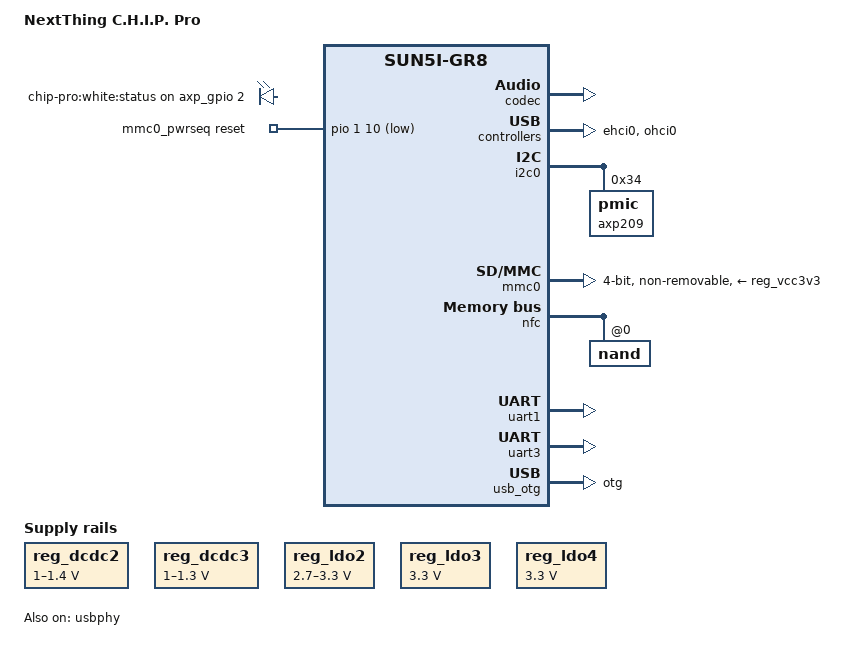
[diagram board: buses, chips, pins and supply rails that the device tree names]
/*
 * Copyright 2016 Free Electrons
 * Copyright 2016 NextThing Co
 *
 * Maxime Ripard <maxime.ripard@free-electrons.com>
 *
 * This file is dual-licensed: you can use it either under the terms
 * of the GPL or the X11 license, at your option. Note that this dual
 * licensing only applies to this file, and not this project as a
 * whole.
 *
 *  a) This file is free software; you can redistribute it and/or
 *     modify it under the terms of the GNU General Public License as
 *     published by the Free Software Foundation; either version 2 of the
 *     License, or (at your option) any later version.
 *
 *     This file is distributed in the hope that it will be useful,
 *     but WITHOUT ANY WARRANTY; without even the implied warranty of
 *     MERCHANTABILITY or FITNESS FOR A PARTICULAR PURPOSE.  See the
 *     GNU General Public License for more details.
 *
 * Or, alternatively,
 *
 *  b) Permission is hereby granted, free of charge, to any person
 *     obtaining a copy of this software and associated documentation
 *     files (the "Software"), to deal in the Software without
 *     restriction, including without limitation the rights to use,
 *     copy, modify, merge, publish, distribute, sublicense, and/or
 *     sell copies of the Software, and to permit persons to whom the
 *     Software is furnished to do so, subject to the following
 *     conditions:
 *
 *     The above copyright notice and this permission notice shall be
 *     included in all copies or substantial portions of the Software.
 *
 *     THE SOFTWARE IS PROVIDED "AS IS", WITHOUT WARRANTY OF ANY KIND,
 *     EXPRESS OR IMPLIED, INCLUDING BUT NOT LIMITED TO THE WARRANTIES
 *     OF MERCHANTABILITY, FITNESS FOR A PARTICULAR PURPOSE AND
 *     NONINFRINGEMENT. IN NO EVENT SHALL THE AUTHORS OR COPYRIGHT
 *     HOLDERS BE LIABLE FOR ANY CLAIM, DAMAGES OR OTHER LIABILITY,
 *     WHETHER IN AN ACTION OF CONTRACT, TORT OR OTHERWISE, ARISING
 *     FROM, OUT OF OR IN CONNECTION WITH THE SOFTWARE OR THE USE OR
 *     OTHER DEALINGS IN THE SOFTWARE.
 */

/dts-v1/;
#include "sun5i-gr8.dtsi"
#include "sunxi-common-regulators.dtsi"

#include <dt-bindings/gpio/gpio.h>
#include <dt-bindings/input/input.h>
#include <dt-bindings/interrupt-controller/irq.h>

/ {
	model = "NextThing C.H.I.P. Pro";
	compatible = "nextthing,chip-pro", "nextthing,gr8";

	aliases {
		i2c0 = &i2c0;
		i2c1 = &i2c1;
		serial0 = &uart1;
		serial1 = &uart2;
		serial2 = &uart3;
	};

	chosen {
		stdout-path = "serial0:115200n8";
	};

	leds {
		compatible = "gpio-leds";

		status {
			label = "chip-pro:white:status";
			gpios = <&axp_gpio 2 GPIO_ACTIVE_HIGH>;
			default-state = "on";
		};
	};

	mmc0_pwrseq: mmc0_pwrseq {
		compatible = "mmc-pwrseq-simple";
		pinctrl-names = "default";
		pinctrl-0 = <&wifi_reg_on_pin_chip_pro>;
		reset-gpios = <&pio 1 10 GPIO_ACTIVE_LOW>; /* PB10 */
	};
};

&codec {
	status = "okay";
};

&ehci0 {
	status = "okay";
};

&i2c0 {
	pinctrl-names = "default";
	pinctrl-0 = <&i2c0_pins_a>;
	status = "okay";

	axp209: pmic@34 {
		reg = <0x34>;

		/*
		* The interrupt is routed through the "External Fast
		* Interrupt Request" pin (ball G13 of the module)
		* directly to the main interrupt controller, without
		* any other controller interfering.
		*/
		interrupts = <0>;
	};
};

#include "axp209.dtsi"

&i2c1 {
	pinctrl-names = "default";
	pinctrl-0 = <&i2c1_pins_a>;
	status = "disabled";
};

&i2s0 {
	pinctrl-names = "default";
	pinctrl-0 = <&i2s0_mclk_pins_a>, <&i2s0_data_pins_a>;
	status = "disabled";
};

&mmc0 {
	pinctrl-names = "default";
	pinctrl-0 = <&mmc0_pins_a>;
	vmmc-supply = <&reg_vcc3v3>;
	mmc-pwrseq = <&mmc0_pwrseq>;
	bus-width = <4>;
	non-removable;
	status = "okay";
};

&nfc {
	pinctrl-names = "default";
	pinctrl-0 = <&nand_pins_a &nand_cs0_pins_a &nand_rb0_pins_a>;
	status = "okay";

	nand@0 {
		#address-cells = <2>;
		#size-cells = <2>;
		reg = <0>;
		allwinner,rb = <0>;
		nand-ecc-mode = "hw";
	};
};

&ohci0 {
	status = "okay";
};

&otg_sram {
	status = "okay";
};

&pio {
	usb0_id_pin_chip_pro: usb0-id-pin@0 {
		pins = "PG2";
		function = "gpio_in";
	};

	wifi_reg_on_pin_chip_pro: wifi-reg-on-pin@0 {
		pins = "PB10";
		function = "gpio_out";
	};
};

&pwm {
	pinctrl-names = "default";
	pinctrl-0 = <&pwm0_pins>, <&pwm1_pins>;
	status = "disabled";
};

&reg_dcdc2 {
	regulator-min-microvolt = <1000000>;
	regulator-max-microvolt = <1400000>;
	regulator-name = "vdd-cpu";
	regulator-always-on;
};

&reg_dcdc3 {
	regulator-min-microvolt = <1000000>;
	regulator-max-microvolt = <1300000>;
	regulator-name = "vdd-sys";
	regulator-always-on;
};

&reg_ldo1 {
	regulator-name = "vdd-rtc";
};

&reg_ldo2 {
	regulator-min-microvolt = <2700000>;
	regulator-max-microvolt = <3300000>;
	regulator-name = "avcc";
	regulator-always-on;
};

/*
 * Both LDO3 and LDO4 are used in parallel to power up the
 * WiFi/BT chip.
 */
&reg_ldo3 {
	regulator-min-microvolt = <3300000>;
	regulator-max-microvolt = <3300000>;
	regulator-name = "vcc-wifi-1";
	regulator-always-on;
};

&reg_ldo4 {
	regulator-min-microvolt = <3300000>;
	regulator-max-microvolt = <3300000>;
	regulator-name = "vcc-wifi-2";
	regulator-always-on;
};

&uart1 {
	pinctrl-names = "default";
	pinctrl-0 = <&uart1_pins_b>, <&uart1_cts_rts_pins_a>;
	status = "okay";
};

&uart2 {
	pinctrl-names = "default";
	pinctrl-0 = <&uart2_pins_a>, <&uart2_cts_rts_pins_a>;
	status = "disabled";
};

&uart3 {
	pinctrl-names = "default";
	pinctrl-0 = <&uart3_pins_a>, <&uart3_cts_rts_pins_a>;
	status = "okay";
};

&usb_otg {
	/*
	 * The CHIP Pro doesn't have a controllable VBUS, nor does it
	 * have any 5v rail on the board itself.
	 *
	 * If one wants to use it as a true OTG port, it should be
	 * done in the baseboard, and its DT / overlay will add it.
	 */
	dr_mode = "otg";
	status = "okay";
};

&usb_power_supply {
	status = "okay";
};

&usbphy {
	pinctrl-names = "default";
	pinctrl-0 = <&usb0_id_pin_chip_pro>;
	usb0_id_det-gpio = <&pio 6 2 GPIO_ACTIVE_HIGH>; /* PG2 */
	usb0_vbus_power-supply = <&usb_power_supply>;
	usb1_vbus-supply = <&reg_vcc5v0>;
	status = "okay";
};
